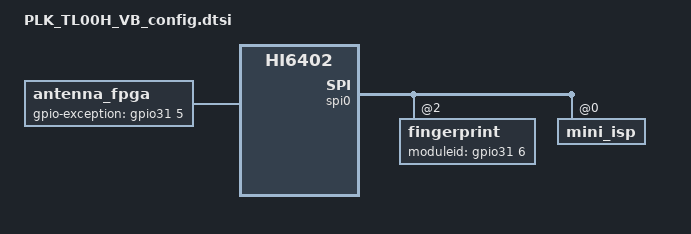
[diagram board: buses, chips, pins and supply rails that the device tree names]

/**
 * Huawei Ltd.
 * PhosphorV660
 */


/include/ "fastboot.dtsi"
/include/ "PLK_TL00H_VA_config.dtsi"
/include/ "PLK_TL00H_VB_pin.dtsi"
/include/ "PLK_TL00H_VB_hi6402_pin.dtsi"
/include/ "PLK_TL00H_VB_modem_pin.dtsi"
///include/ "PLK_TL00H_VB_charger.dtsi"
///include/ "PLK_TL00H_VB_gpio_logic.dtsi"
///include/ "PLK_TL00H_VB_pmic.dtsi"
/ {
	hisi,boardid = <1 8 9 0 >;
	hisi,boardname = "PLK_TL00H_VB";

	panel_lcd_jdi_NT35695 {
		lcd-bl-type = <2>;
	};
	bcm_wifi {
		wlan_enable,gpio_vio = <&gpio2 4 0>;
	};
	bluetooth_power:bluetooth_power{
		huawei,vio_en = <20>;
        };

	audio_hw_config {
		product_name = "PLK_TL";
	};
	antenna_fpga{
		compatible = "antenna_fpga";
		antenna_fpga,gpio-exception = <&gpio31 5 0>;  //this is connected to hi6402 cs.
		status = "ok";
	};
	amba {
		spi0:spi@fdf07000 {
			fingerprint: fingerprint@2 {
				fpc1020,power_gpio = <0>;
				fpc1020,moduleid_gpio = <&gpio31 6 0>;
			};
		};
	};

	amba {
		spi0:spi@fdf07000 {
			mini_isp: mini_isp@0 {
				mini_isp,dvdd_gpio = <155>;
			};
		};
	};

	huawei,imx278 {
		huawei,ldo-names = "dvdd", "avdd", "iopw", "vcm", "avdd2", "dvdd2";
		gpios = <&gpio3 1 0  &gpio19 3 0>;
		huawei,gpio-ctrl-types = "reset", "suspend";
		status = "ok";
	};

	huawei,imx179 {
		huawei,ldo-names = "avdd", "iopw", "dvdd", "dvdd2", "avdd2", "vcm2";
		gpios = <&gpio3 2 0  &gpio19 3 0>;
		huawei,gpio-ctrl-types = "reset", "suspend";
		status = "ok";
	};
};

